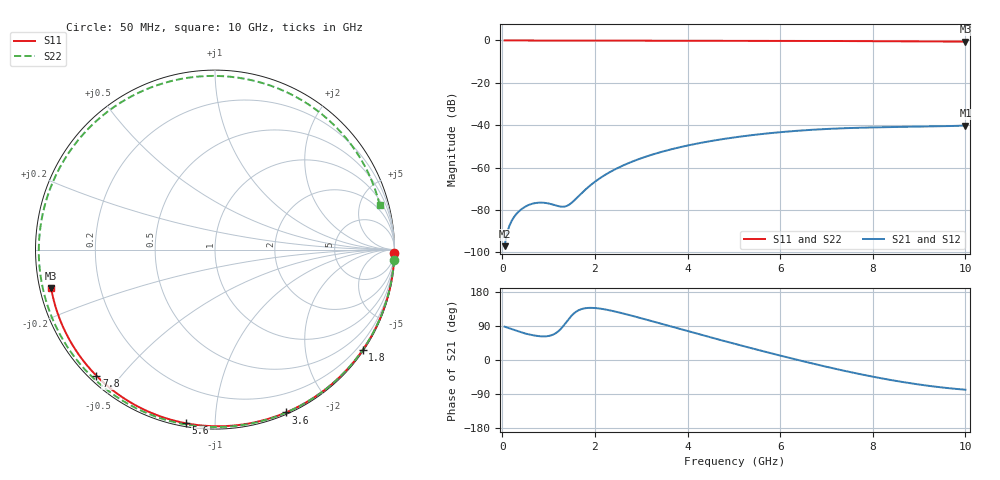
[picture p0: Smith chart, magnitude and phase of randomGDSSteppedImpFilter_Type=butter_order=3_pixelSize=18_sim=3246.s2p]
! freq	dB(S11)	phase(S11)	dB(S12)	phase(S12)
!  dB(S21)	phase(S21)	dB(S22)	phase(S22)
!S-par simulation data
#  GHz  S  DB  R 50
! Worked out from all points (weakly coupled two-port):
!   200 points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, 50 MHz to 10 GHz, reference 50 ohm
!   highest |S21| = -40.18 dB at 10 GHz (marker M1); lowest = -97.1 dB at 50 MHz (marker M2)
!   lowest |S11| = -0.6 dB at 10 GHz (marker M3), VSWR 31.28, Z = 1.62 - j5.78 ohm
!   |S11| at or under -10 dB: nowhere
!   |S22| runs from -0.4 to 0.0 dB; largest |S21 - S12| = 0
!   S11 on the Smith chart (normalised r, x): 50 MHz: open; 1.8 GHz: 0.03, -3.25; 3.6 GHz: 0.02, -1.53; 5.6 GHz: 0.02, -0.85; 7.8 GHz: 0.02, -0.43; 10 GHz: 0.03, -0.12
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0.05  -0.00 -1.0  -97.10 88.0  -97.10 88.0  -0.00 -3.3
0.4  -0.01 -7.7  -79.89 73.8  -79.89 73.8  -0.03 -26.0
0.45  -0.01 -8.7  -79.11 71.8  -79.11 71.8  -0.04 -29.2
0.65  -0.02 -12.5  -77.06 65.7  -77.06 65.7  -0.05 -41.7
0.9  -0.02 -17.3  -76.62 62.3  -76.62 62.3  -0.07 -56.6
1.35  -0.03 -25.8  -78.40 94.8  -78.40 94.8  -0.09 -81.3
1.5  -0.04 -28.6  -76.57 117.6  -76.57 117.6  -0.10 -88.8
1.75  -0.04 -33.3  -71.30 135.7  -71.30 135.7  -0.11 -100.8
1.8  -0.04 -34.2  -70.29 136.8  -70.29 136.8  -0.11 -103.0
2.1  -0.05 -39.7  -65.14 135.8  -65.14 135.8  -0.11 -116.1
2.45  -0.06 -46.1  -60.66 127.5  -60.66 127.5  -0.12 -130.0
2.9  -0.07 -54.2  -56.39 113.5  -56.39 113.5  -0.13 -146.2
3.4  -0.08 -63.0  -52.82 96.7  -52.82 96.7  -0.14 -162.5
3.6  -0.09 -66.5  -51.64 89.9  -51.64 89.9  -0.15 -168.6
4.3  -0.11 -78.3  -48.28 66.3  -48.28 66.3  -0.17 171.1
5.05  -0.14 -90.7  -45.64 41.7  -45.64 41.7  -0.19 150.6
5.6  -0.17 -99.5  -44.17 24.2  -44.17 24.2  -0.22 135.9
6.7  -0.23 -116.5  -42.15 -9.3  -42.15 -9.3  -0.26 106.7
7.8  -0.31 -133.2  -41.14 -39.2  -41.14 -39.2  -0.31 76.7
8.35  -0.36 -141.5  -40.90 -51.9  -40.90 -51.9  -0.33 61.4
9.2  -0.46 -154.4  -40.61 -68.1  -40.61 -68.1  -0.37 37.5
10  -0.56 -166.8  -40.18 -78.4  -40.18 -78.4  -0.44 15.1
